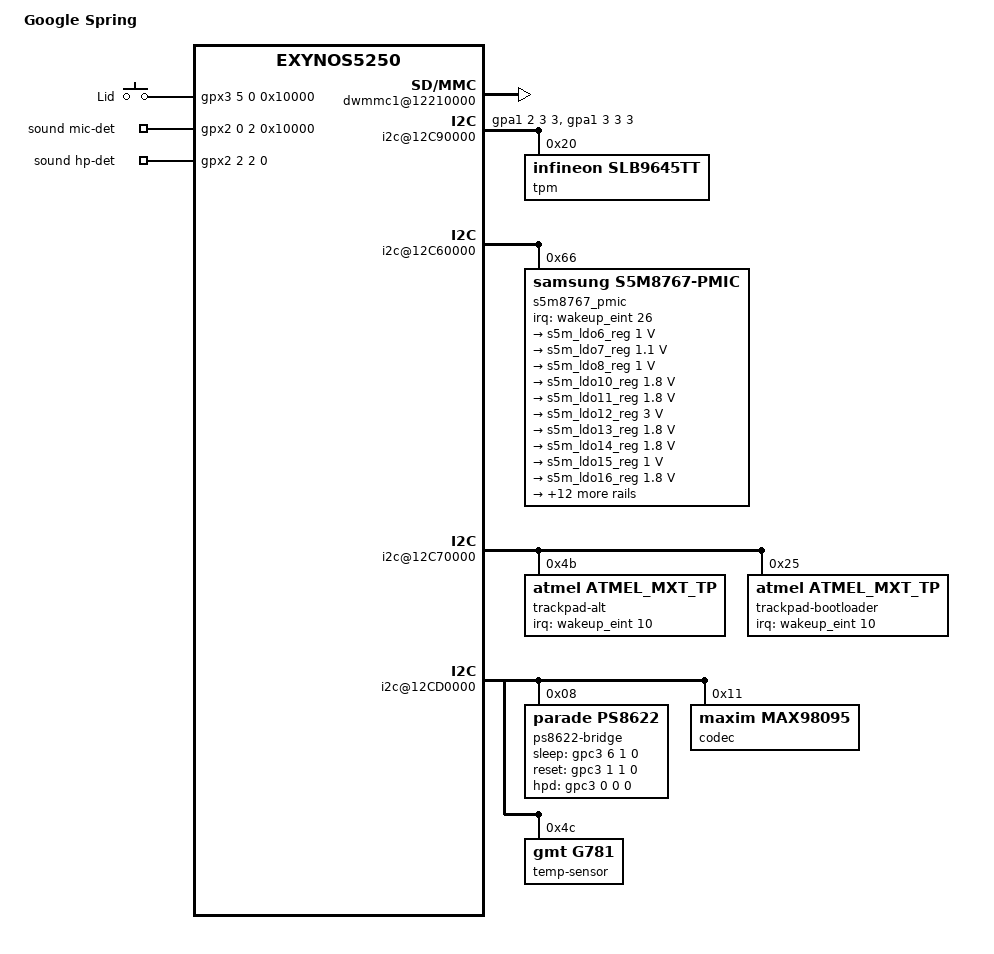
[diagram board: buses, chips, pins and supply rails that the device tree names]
/*
 * Google Spring board device tree source
 *
 * Copyright (c) 2012 Google, Inc
 *
 * This program is free software; you can redistribute it and/or modify
 * it under the terms of the GNU General Public License version 2 as
 * published by the Free Software Foundation.
*/

/dts-v1/;
/include/ "exynos5250.dtsi"
/include/ "cros5250-common.dtsi"

/ {
	model = "Google Spring";
	compatible = "google,spring", "samsung,exynos5250";

	adc@12D10000 {
		status = "disabled";
	};

	mipi {
		status = "disabled";
	};

	/*
	 * always de-activate the OHCI controller else it will force turning on
	 * the VBUS power on port 0 triggering an electrical conflict.
	 * We can remove this workaround (and support USB1.1 peripherals)
	 * once the next revision of hardware will modify the VBUS control.
	 */
	ohci {
		status = "disabled";
	};

	gpio-keys {
		compatible = "gpio-keys";

		lid-switch {
			label = "Lid";
			gpios = <&gpx3 5 0 0x10000 0>;
			linux,input-type = <5>; /* EV_SW */
			linux,code = <0>; /* SW_LID */
			debounce-interval = <1>;
			gpio-key,wakeup;
		};
	};

	dwmmc1@12210000 {
		/*
		 * MMC1 port is used for external Wifi card SDIO connection.
		 *
		 * We override the default configuration for this port which
		 * disables it in cros5250-common.dtsi.
		 */
		status = "okay";
		/* high speed is currently not behaving properly */
		//supports-highspeed;
		card-detection-broken;
		no-write-protect;
		keep-power-in-suspend;
		enable-sdio-wakeup;
		fifo-depth = <0x80>;
		card-detect-delay = <200>;
		samsung,dw-mshc-sdr-timing = <2 3 3>;
		samsung,dw-mshc-ddr-timing = <1 2 3>;

		slot0 {
			bus-width = <4>;
			gpios = <&gpc2 1 2 3 3>, <&gpc2 0 2 0 3>,
				<&gpc2 3 2 3 3>, <&gpc2 4 2 3 3>,
				<&gpc2 5 2 3 3>, <&gpc2 6 2 3 3>;
		};
	};

	dwmmc2@12220000 {
		/* MMC2 pins are used as GPIO for eDP bridge control */
		status = "disabled";
	};

	dwmmc3@12230000 {
		/*
		 * Nothing is connected on MMC3 port : disable it.
		 *
		 * We override the default configuration for this port which
		 * configures it for SDIO in cros5250-common.dtsi.
		 */
		status = "disabled";
	};

	i2c@12C90000 {
		samsung,i2c-sda-delay = <100>;
		samsung,i2c-max-bus-freq = <400000>;
		gpios = <&gpa1 2 3 3 0>,
			<&gpa1 3 3 3 0>;

		tpm {
			compatible = "infineon,slb9645tt";
			reg = <0x20>;
		};
	};

	i2c@12C60000 {
		s5m8767_pmic@66 {
			compatible = "samsung,s5m8767-pmic";
			interrupt-parent = <&wakeup_eint>;
			interrupts = <26 0>;
			wakeup-source;
			reg = <0x66>;

			s5m-core,enable-low-jitter;
			s5m-core,device_type = <2>;
			s5m8767,buck_ramp_delay = <25>;		/* default */
			s5m8767,buck2_ramp_enable;		/* default */
			s5m8767,buck3_ramp_enable;		/* default */
			s5m8767,buck4_ramp_enable;		/* default */

			voltage-regulators {
				s5m_ldo6_reg: LDO6 {
					regulator-name = "vdd_ldo6";
					regulator-min-microvolt = <1000000>;
					regulator-max-microvolt = <1000000>;
					regulator-always-on;
					reg_op_mode = <1>; /* Standby Mode */
				};
				s5m_ldo7_reg: LDO7 {
					regulator-name = "vdd_ldo7";
					regulator-min-microvolt = <1100000>;
					regulator-max-microvolt = <1100000>;
					regulator-always-on;
					reg_op_mode = <1>; /* Standby Mode */
				};
				s5m_ldo8_reg: LDO8 {
					regulator-name = "vdd_ldo8";
					regulator-min-microvolt = <1000000>;
					regulator-max-microvolt = <1000000>;
					regulator-always-on;
					reg_op_mode = <1>; /* Standby Mode */
				};
				s5m_ldo10_reg: LDO10 {
					regulator-name = "vdd_ldo10";
					regulator-min-microvolt = <1800000>;
					regulator-max-microvolt = <1800000>;
					regulator-always-on;
					reg_op_mode = <1>; /* Standby Mode */
				};
				s5m_ldo11_reg: LDO11 {
					regulator-name = "vdd_ldo11";
					regulator-min-microvolt = <1800000>;
					regulator-max-microvolt = <1800000>;
					regulator-always-on;
					reg_op_mode = <0>; /* Off Mode */
				};
				s5m_ldo12_reg: LDO12 {
					regulator-name = "vdd_ldo12";
					regulator-min-microvolt = <3000000>;
					regulator-max-microvolt = <3000000>;
					regulator-always-on;
					reg_op_mode = <1>; /* Standby Mode */
				};
				s5m_ldo13_reg: LDO13 {
					regulator-name = "vdd_ldo13";
					regulator-min-microvolt = <1800000>;
					regulator-max-microvolt = <1800000>;
					regulator-always-on;
					reg_op_mode = <0>; /* Off Mode */
				};
				s5m_ldo14_reg: LDO14 {
					regulator-name = "vdd_ldo14";
					regulator-min-microvolt = <1800000>;
					regulator-max-microvolt = <1800000>;
					regulator-always-on;
					reg_op_mode = <1>; /* Standby Mode */
				};
				s5m_ldo15_reg: LDO15 {
					regulator-name = "vdd_ldo15";
					regulator-min-microvolt = <1000000>;
					regulator-max-microvolt = <1000000>;
					regulator-always-on;
					reg_op_mode = <1>; /* Standby Mode */
				};
				s5m_ldo16_reg: LDO16 {
					regulator-name = "vdd_ldo16";
					regulator-min-microvolt = <1800000>;
					regulator-max-microvolt = <1800000>;
					regulator-always-on;
					reg_op_mode = <1>; /* Standby Mode */
				};
				s5m_ldo17_reg: LDO17 {
					regulator-name = "vdd_ldo17";
					regulator-min-microvolt = <2800000>;
					regulator-max-microvolt = <2800000>;
					regulator-always-on;
					reg_op_mode = <0>; /* Off Mode */
				};
				s5m_ldo25_reg: LDO25 {
					regulator-name = "vdd_bridge";
					regulator-min-microvolt = <1200000>;
					regulator-max-microvolt = <1200000>;
					regulator-always-on;
					reg_op_mode = <3>; /* Normal Mode */
				};
				s5m_buck1_reg: BUCK1 {
					regulator-name = "vdd_mif";
					regulator-min-microvolt = <950000>;
					regulator-max-microvolt = <1300000>;
					regulator-always-on;
					regulator-boot-on;
					reg_op_mode = <1>; /* Standby Mode */
				};

				s5m_buck2_reg: BUCK2 {
					regulator-name = "vdd_arm";
					regulator-min-microvolt = <850000>;
					regulator-max-microvolt = <1350000>;
					regulator-boot-on;
					reg_op_mode = <1>; /* Standby Mode */
				};

				s5m_buck3_reg: BUCK3 {
					regulator-name = "vdd_int";
					regulator-min-microvolt = <900000>;
					regulator-max-microvolt = <1200000>;
					regulator-boot-on;
					reg_op_mode = <1>; /* Standby Mode */
				};

				s5m_buck4_reg: BUCK4 {
					regulator-name = "vdd_g3d";
					regulator-min-microvolt = <850000>;
					regulator-max-microvolt = <1300000>;
					regulator-boot-on;
					reg_op_mode = <1>; /* Standby Mode */
				};

				s5m_buck5_reg: BUCK5 {
					regulator-name = "vdd_1v8";
					regulator-min-microvolt = <1800000>;
					regulator-max-microvolt = <1800000>;
					regulator-always-on;
					regulator-boot-on;
					reg_op_mode = <3>; /* Normal Mode */
				};

				s5m_buck6_reg: BUCK6 {
					regulator-name = "vdd_buck6";
					regulator-min-microvolt = <1200000>;
					regulator-max-microvolt = <1200000>;
					regulator-always-on;
					regulator-boot-on;
					reg_op_mode = <0>; /* Off Mode */
				};

				s5m_buck9_reg: BUCK9 {
					regulator-name = "vdd_ummc";
					regulator-min-microvolt = <900000>;
					regulator-max-microvolt = <3000000>;
					regulator-always-on;
					regulator-boot-on;
					reg_op_mode = <1>;
				};

				s5m_en32khz_ap: EN32KHZ_AP {
					regulator-name = "en32khz_ap";
					regulator-boot-on;
					reg_op_mode = <1>; /* Normal Mode */
				};

				s5m_en32khz_cp: EN32KHZ_CP {
					regulator-name = "en32khz_cp";
					regulator-boot-on;
					reg_op_mode = <1>; /* Normal Mode */
				};

				s5m_en32khz_bt: EN32KHZ_BT {
					regulator-name = "en32khz_bt";
					regulator-boot-on;
					reg_op_mode = <1>; /* Normal Mode */
				};
			};
		};
	};

	i2c@12C70000 {
		trackpad-alt {
			reg=<0x4b>;
			compatible="atmel,atmel_mxt_tp";
			interrupts=<10 0>;
			interrupt-parent=<&wakeup_eint>;
			wakeup-source;
		};
		trackpad-bootloader {
			reg=<0x25>;
			compatible="atmel,atmel_mxt_tp";
			interrupts=<10 0>;
			interrupt-parent=<&wakeup_eint>;
			wakeup-source;
		};
	};

	i2c@12CD0000 {
		ps8622-bridge@8 {
			compatible = "parade,ps8622";
			reg = <0x08>;
			sleep-gpio = <&gpc3 6 1 0 0>;
			reset-gpio = <&gpc3 1 1 0 0>;
			hpd-gpio = <&gpc3 0 0 0 0>;
		};

		codec {
			compatible = "maxim,max98095";
			reg = <0x11>;
			mic-left-digital;
			mic-right-digital;
			mclk-pin = <2>;
		};

		temp-sensor {
			compatible = "gmt,g781";
			reg = <0x4c>;
		};
	};

	sound {
		compatible = "google,daisy-audio-max98095";
		samsung,mic-det-gpios = <&gpx2 0 2 0x10000 0>;
		samsung,hp-det-gpios = <&gpx2 2 2 0 0>;
	};

	gpio-controllers {
		gpa0: gpio-controller@11400000 {
			powerdown-settings = <6 6 6 6 3 3 2 2>;
		};

		gpa1: gpio-controller@11400020 {
			powerdown-settings = <3 3 2 2 3 3>;
		};

		gpa2: gpio-controller@11400040 {
			powerdown-settings = <2 2 2 2 3 2 2 2>;
		};

		gpb0: gpio-controller@11400060 {
			powerdown-settings = <3 3 3 3 3>;
		};

		gpb1: gpio-controller@11400080 {
			powerdown-settings = <3 3 3 3 3>;
		};

		gpb2: gpio-controller@114000A0 {
			powerdown-settings = <3 3 2 2>;
		};

		gpb3: gpio-controller@114000C0 {
			powerdown-settings = <2 2 2 2>;
		};

		gpc0: gpio-controller@114000E0 {
			powerdown-settings = <6 2 2 2 2 2 2>;
		};

		gpc1: gpio-controller@11400100 {
			powerdown-settings = <2 2 2 2>;
		};

		gpc2: gpio-controller@11400120 {
			powerdown-settings = <3 1 3 3 3 3 3>;
		};

		gpc3: gpio-controller@11400140 {
			powerdown-settings = <6 2 1 2 2 2 2>;
		};

		gpc4: gpio-controller@114002E0 {
			powerdown-settings = <6 2 3 2 2 2 2>;
		};

		gpd0: gpio-controller@11400160 {
			powerdown-settings = <6 6 3 3>;
		};

		gpd1: gpio-controller@11400180 {
			powerdown-settings = <6 6 6 3 3 6 1 1>;
		};

		gpy0: gpio-controller@114001A0 {
			powerdown-settings = <3 3 6 3 3 3>;
		};

		gpy1: gpio-controller@114001C0 {
			powerdown-settings = <5 3 3 3>;
		};

		gpy2: gpio-controller@114001E0 {
			powerdown-settings = <3 3 3 3 3 2>;
		};

		gpy3: gpio-controller@11400200 {
			powerdown-settings = <3 3 3 3 3 3 3 3>;
		};

		gpy4: gpio-controller@11400220 {
			powerdown-settings = <3 3 3 3 3 3 3 3>;
		};

		gpy5: gpio-controller@11400240 {
			powerdown-settings = <3 3 3 3 3 3 3 3>;
		};

		gpy6: gpio-controller@11400260 {
			powerdown-settings = <3 3 3 3 3 3 3 3>;
		};

		/* gpx0: No powerdown mode, uses active mode on suspend */
		/* gpx1: No powerdown mode, uses active mode on suspend */
		/* gpx2: No powerdown mode, uses active mode on suspend */
		/* gpx3: No powerdown mode, uses active mode on suspend */

		gpe0: gpio-controller@13400000 {
			powerdown-settings = <5 3 3 3 2 2 3 3>;
		};

		gpe1: gpio-controller@13400020 {
			powerdown-settings = <5 3>;
		};

		gpf0: gpio-controller@13400040 {
			powerdown-settings = <3 3 1 2>;
		};

		gpf1: gpio-controller@13400060 {
			powerdown-settings = <3 3 3 3>;
		};

		gpg0: gpio-controller@13400080 {
			powerdown-settings = <3 3 3 3 3 3 3 3>;
		};

		gpg1: gpio-controller@134000A0 {
			powerdown-settings = <3 3 3 3 3 3 3 3>;
		};

		gpg2: gpio-controller@134000C0 {
			powerdown-settings = <3 3>;
		};

		gph0: gpio-controller@134000E0 {
			powerdown-settings = <3 3 3 3>;
		};

		gph1: gpio-controller@13400100 {
			powerdown-settings = <3 3 3 3 3 3 3 3>;
		};

		gpv0: gpio-controller@10D10000 {
			powerdown-settings = <3 3 3 3 3 3 3 3>;
		};

		gpv1: gpio-controller@10D10020 {
			powerdown-settings = <3 3 3 3 3 3 3 3>;
		};

		gpv2: gpio-controller@10D10040 {
			powerdown-settings = <3 3 3 3 3 3 3 3>;
		};

		gpv3: gpio-controller@10D10060 {
			powerdown-settings = <3 3 3 3 3 3 3 3>;
		};

		gpv4: gpio-controller@10D10080 {
			powerdown-settings = <3 3>;
		};

		gpz: gpio-controller@03860000 {
			powerdown-settings = <6 3 6 6 6 3 3>;
		};
	};

	ehci {
		/*
		 * disable port 0 to avoid electrical conflict on VBUS
		 * port 2 is not used
		 */
		samsung,port_used_bitmap = <0x2>;
	};
};
